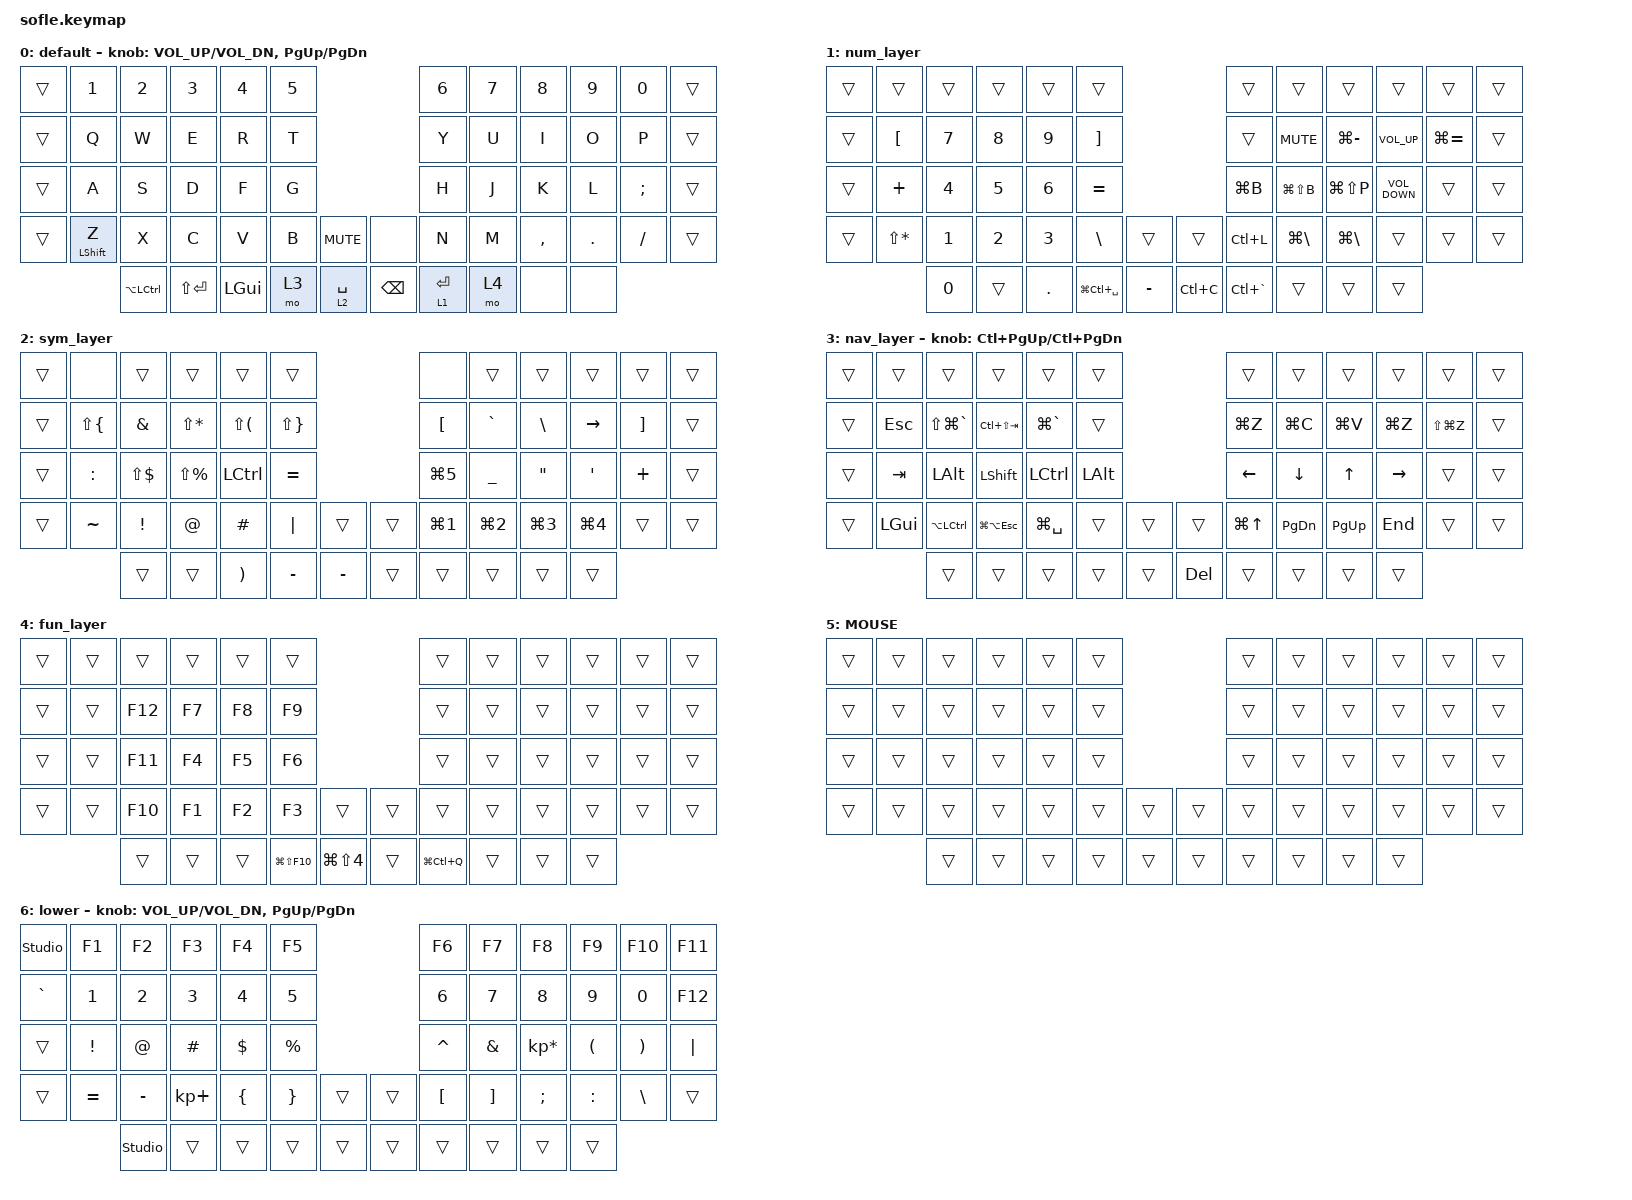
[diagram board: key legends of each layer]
/*
 * Copyright (c) 2020 The ZMK Contributors
 *
 * SPDX-License-Identifier: MIT
 */

#include <behaviors.dtsi>
#include <dt-bindings/zmk/keys.h>

#define BASE 0
#define LOWER 1
#define RAISE 2
#define ADJUST 3

/ {
    // Activate ADJUST layer by pressing raise and lower

    conditional_layers {
        compatible = "zmk,conditional-layers";

        adjust_layer {
            if-layers = <6 4>;
            then-layer = <6>;
        };
    };

    combos {
        compatible = "zmk,combos";

        tab {
            bindings = <&kp TAB>;
            key-positions = <26 25>;
        };

        copy {
            bindings = <&kp LG(C)>;
            key-positions = <28 27>;
        };

        paste {
            bindings = <&kp LG(V)>;
            key-positions = <40 39>;
        };

        select_all {
            bindings = <&kp LG(A)>;
            key-positions = <16 15>;
        };

        tilde {
            bindings = <&kp TILDE>;
            key-positions = <31 32>;
        };

        paste_raw {
            bindings = <&kp LS(LG(V))>;
            key-positions = <40 39 38>;
        };

        undo {
            bindings = <&kp LG(Z)>;
            key-positions = <29 28>;
        };

        redo {
            bindings = <&kp LS(LG(X))>;
            key-positions = <40 41>;
        };
    };

    keymap {
        compatible = "zmk,keymap";

        default_layer {
            label = "default";

            // ------------------------------------------------------------------------------------------------------------
            // |   `   |  1  |  2  |  3   |  4   |  5   |                   |  6   |  7    |  8    |  9   |   0   |       |
            // |  ESC  |  Q  |  W  |  E   |  R   |  T   |                   |  Y   |  U    |  I    |  O   |   P   | BKSPC |
            // |  TAB  |  A  |  S  |  D   |  F   |  G   |                   |  H   |  J    |  K    |  L   |   ;   |   '   |
            // | SHIFT |  Z  |  X  |  C   |  V   |  B   |  MUTE  |  |       |  N   |  M    |  ,    |  .   |   /   | SHIFT |
            //               | GUI | ALT  | CTRL | LOWER|  ENTER |  | SPACE | RAISE| CTRL  | ALT   | GUI  |

            bindings = <
&trans  &kp N1            &kp N2         &kp N3         &kp N4        &kp N5                                &kp N6       &kp N7  &kp N8     &kp N9   &kp N0         &trans
&trans  &kp Q             &kp W          &kp E          &kp R         &kp T                                 &kp Y        &kp U   &kp I      &kp O    &kp P          &trans
&trans  &kp A             &kp S          &kp D          &kp F         &kp G                                 &kp H        &kp J   &kp K      &kp L    &kp SEMICOLON  &trans
&trans  &mt LEFT_SHIFT Z  &kp X          &kp C          &kp V         &kp B   &kp C_MUTE     &none          &kp N        &kp M   &kp COMMA  &kp DOT  &kp FSLH       &trans
                          &kp LA(LCTRL)  &kp LS(ENTER)  &kp LEFT_GUI  &mo 3   &lt 2 SPACE    &kp BACKSPACE  &lt 1 ENTER  &mo 4   &none      &none
            >;

            sensor-bindings = <&inc_dec_kp C_VOL_UP C_VOL_DN &inc_dec_kp PG_UP PG_DN>;
        };

        num_layer {
            bindings = <
&trans  &trans            &trans        &trans        &trans        &trans                                     &trans         &trans             &trans             &trans             &trans         &trans
&trans  &kp LEFT_BRACKET  &kp NUMBER_7  &kp NUMBER_8  &kp NUMBER_9  &kp RIGHT_BRACKET                          &trans         &kp K_MUTE         &kp LG(MINUS)      &kp C_VOLUME_UP    &kp LG(EQUAL)  &trans
&trans  &kp PLUS          &kp NUMBER_4  &kp NUMBER_5  &kp NUMBER_6  &kp EQUAL                                  &kp LG(B)      &kp LG(LS(B))      &kp LG(LS(P))      &kp C_VOLUME_DOWN  &trans         &trans
&trans  &kp LS(ASTERISK)  &kp NUMBER_1  &kp NUMBER_2  &kp NUMBER_3  &kp BACKSLASH      &trans       &trans     &kp LC(L)      &kp LG(BACKSLASH)  &kp LG(BACKSLASH)  &trans             &trans         &trans
                          &kp NUMBER_0  &trans        &kp PERIOD    &kp LG(LC(SPACE))  &kp MINUS    &kp LC(C)  &kp LC(GRAVE)  &trans             &trans             &trans
            >;
        };

        sym_layer {
            bindings = <
&trans  &none               &trans          &trans            &trans                    &trans                                    &none             &trans            &trans             &trans            &trans             &trans
&trans  &kp LS(LEFT_BRACE)  &kp AMPS        &kp LS(ASTERISK)  &kp LS(LEFT_PARENTHESIS)  &kp LS(RIGHT_BRACE)                       &kp LEFT_BRACKET  &kp GRAVE         &kp BACKSLASH      &kp RIGHT_ARROW   &kp RIGHT_BRACKET  &trans
&trans  &kp COLON           &kp LS(DOLLAR)  &kp LS(PERCENT)   &kp LEFT_CONTROL          &kp EQUAL                                 &kp LG(NUMBER_5)  &kp UNDERSCORE    &kp DOUBLE_QUOTES  &kp SINGLE_QUOTE  &kp PLUS           &trans
&trans  &kp TILDE           &kp EXCL        &kp AT            &kp HASH                  &kp PIPE             &trans       &trans  &kp LG(NUMBER_1)  &kp LG(NUMBER_2)  &kp LG(NUMBER_3)   &kp LG(NUMBER_4)  &trans             &trans
                            &trans          &trans            &kp RIGHT_PARENTHESIS     &kp MINUS            &kp MINUS    &trans  &trans            &trans            &trans             &trans
            >;
        };

        nav_layer {
            bindings = <
&trans  &trans        &trans                &trans              &trans            &trans                              &trans      &trans         &trans        &trans     &trans         &trans
&trans  &kp ESC       &kp LS(LG(GRAVE))     &kp LC(LS(TAB))     &kp LG(GRAVE)     &trans                              &kp LG(Z)   &kp LG(C)      &kp LG(V)     &kp LG(Z)  &kp LS(LG(Z))  &trans
&trans  &kp TAB       &kp LEFT_ALT          &kp LEFT_SHIFT      &kp LEFT_CONTROL  &kp LEFT_ALT                        &kp LEFT    &kp DOWN       &kp UP_ARROW  &kp RIGHT  &trans         &trans
&trans  &kp LEFT_GUI  &kp LA(LEFT_CONTROL)  &kp LG(LA(ESCAPE))  &kp LG(SPACE)     &trans        &trans    &trans      &kp LG(UP)  &kp PAGE_DOWN  &kp PG_UP     &kp END    &trans         &trans
                      &trans                &trans              &trans            &trans        &trans    &kp DELETE  &trans      &trans         &trans        &trans
            >;

            sensor-bindings = <&inc_dec_kp LC(PAGE_UP) LC(PAGE_DOWN)>;
        };

        fun_layer {
            bindings = <
&trans  &trans  &trans   &trans  &trans  &trans                                           &trans         &trans  &trans  &trans  &trans  &trans
&trans  &trans  &kp F12  &kp F7  &kp F8  &kp F9                                           &trans         &trans  &trans  &trans  &trans  &trans
&trans  &trans  &kp F11  &kp F4  &kp F5  &kp F6                                           &trans         &trans  &trans  &trans  &trans  &trans
&trans  &trans  &kp F10  &kp F1  &kp F2  &kp F3           &trans                  &trans  &trans         &trans  &trans  &trans  &trans  &trans
                &trans   &trans  &trans  &kp LG(LS(F10))  &kp LG(LS(NUMBER_4))    &trans  &kp LG(LC(Q))  &trans  &trans  &trans
            >;
        };

        MOUSE {
            bindings = <
&trans  &trans  &trans  &trans  &trans  &trans                    &trans  &trans  &trans  &trans  &trans  &trans
&trans  &trans  &trans  &trans  &trans  &trans                    &trans  &trans  &trans  &trans  &trans  &trans
&trans  &trans  &trans  &trans  &trans  &trans                    &trans  &trans  &trans  &trans  &trans  &trans
&trans  &trans  &trans  &trans  &trans  &trans  &trans    &trans  &trans  &trans  &trans  &trans  &trans  &trans
                &trans  &trans  &trans  &trans  &trans    &trans  &trans  &trans  &trans  &trans
            >;
        };

        lower_layer {
            label = "lower";

            // TODO: Some binds are waiting for shifted keycode support.
            // ------------------------------------------------------------------------------------------------------------
            // |       |  F1 |  F2 |  F3  |  F4  |  F5  |                   |  F6  |  F7   |  F8   |  F9  |  F10  |  F11  |
            // |   `   |  1  |  2  |  3   |  4   |  5   |                   |  6   |  7    |  8    |  9   |   0   |  F12  |
            // |       |  !  |  @  |  #   |  $   |  %   |                   |  ^   |  &    |  *    |  (   |   )   |   |   |
            // |       |  =  |  -  |  +   |  {   |  }   |        |  |       |  [   |  ]    |  ;    |  :   |   \   |       |
            //               |     |      |      |      |        |  |       |      |       |       |      |

            bindings = <
&studio_unlock  &kp F1     &kp F2          &kp F3       &kp F4    &kp F5                       &kp F6     &kp F7    &kp F8           &kp F9     &kp F10   &kp F11
&kp GRAVE       &kp N1     &kp N2          &kp N3       &kp N4    &kp N5                       &kp N6     &kp N7    &kp N8           &kp N9     &kp N0    &kp F12
&trans          &kp EXCL   &kp AT          &kp HASH     &kp DLLR  &kp PRCNT                    &kp CARET  &kp AMPS  &kp KP_MULTIPLY  &kp LPAR   &kp RPAR  &kp PIPE
&trans          &kp EQUAL  &kp MINUS       &kp KP_PLUS  &kp LBRC  &kp RBRC   &trans    &trans  &kp LBKT   &kp RBKT  &kp SEMI         &kp COLON  &kp BSLH  &trans
                           &studio_unlock  &trans       &trans    &trans     &trans    &trans  &trans     &trans    &trans           &trans
            >;

            sensor-bindings = <&inc_dec_kp C_VOL_UP C_VOL_DN &inc_dec_kp PG_UP PG_DN>;
        };
    };
};
